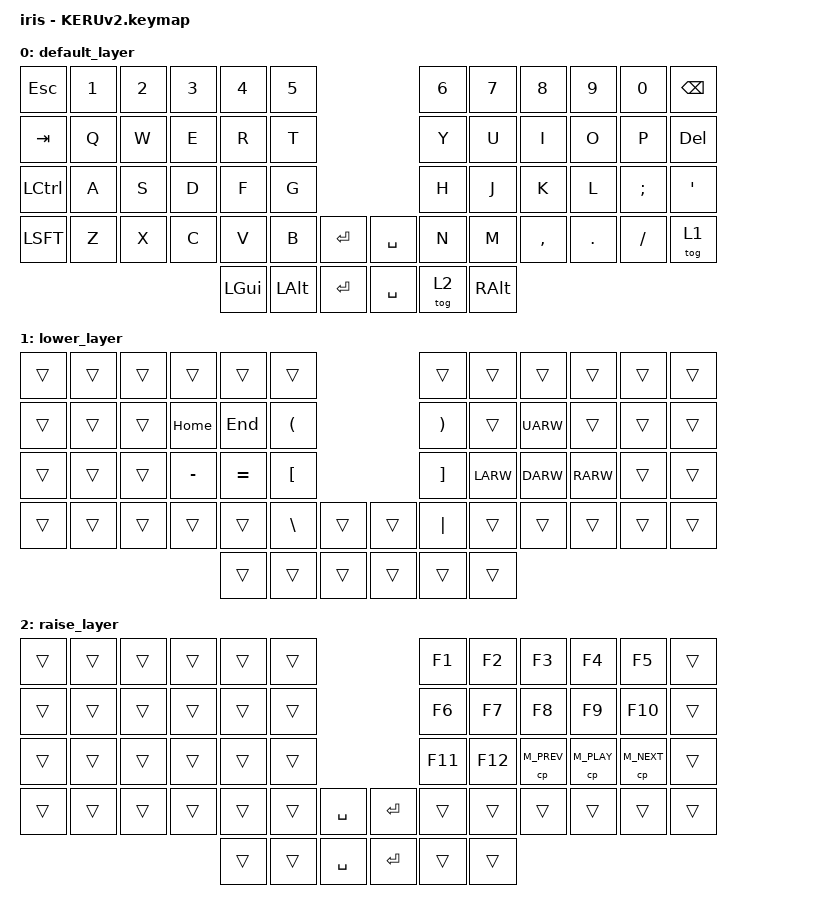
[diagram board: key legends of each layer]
#include <behaviors.dtsi>
#include <dt-bindings/zmk/keys.h>


/ {
	keymap {
		compatible = "zmk,keymap";

		default_layer {
// ------------------------------------------------------------------------------------------------------------
// |  ESC  |  1  |  2  |  3   |  4   |  5   |                   |  6   |  7    |  8    |  9   |   0   |  BKSP |
// |  TAB  |  Q  |  W  |  E   |  R   |  T   |                   |  Y   |  U    |  I    |  O   |   P   |   `   |
// |  CTRL |  A  |  S  |  D   |  F   |  G   |                   |  H   |  J    |  K    |  L   |   ;   |   '   |
// | SHIFT |  Z  |  X  |  C   |  V   |  B   |  ENTER |  | SPACE |  N   |  M    |  ,    |  .   |   /   |  DEL  |
//                     		  | GUI  | TOG1 |  ENTER |  | SPACE | TOG2 |  ALT  |
			bindings = <
&kp ESC  &kp NUM_1 &kp NUM_2 &kp NUM_3 &kp NUM_4 &kp NUM_5                  &kp NUM_6 &kp NUM_7 &kp NUM_8 &kp NUM_9 &kp NUM_0 &kp BKSP
&kp TAB  &kp Q     &kp W     &kp E     &kp R     &kp T                      &kp Y     &kp U     &kp I     &kp O     &kp P     &kp DEL
&kp LCTL &kp A     &kp S     &kp D     &kp F     &kp G                      &kp H     &kp J     &kp K     &kp L     &kp SCLN  &kp QUOT
&kp LSFT &kp Z     &kp X     &kp C     &kp V     &kp B   &kp RET   &kp SPC  &kp N     &kp M     &kp CMMA  &kp DOT   &kp FSLH  &tog 1
                   			 		   &kp LGUI  &kp LALT &kp RET   &kp SPC  &tog 2    &kp RALT
			>;
		};

		lower_layer {
// ------------------------------------------------------------------------------------------------------------
// |       |     |     |      |      |      |                   |      |   ^   |   *   |  (   |   )   |       |
// |       |     | UP  | HOME | END  |  (   |                   |  )   |   7   |   8   |  9   |   0   |       |
// |       | LEFT| DOWN| RIGHT| PGUP |  [   |                   |  ]   |   4   |   5   |  6   |   +   |       |
// |       |     |     |      | PGDN |  \   |       |   |       |  "|" |   1   |   2   |  3   |   -   |       |
//                            |      |      |       |   |       |  .   |   0   |
			bindings = <
&trans   &trans    &trans    &trans    &trans     &trans                      &trans    &trans   &trans   &trans    &trans  &trans
&trans   &trans    &trans    &kp HOME  &kp END    &kp LPRN                    &kp RPRN  &trans   &kp UARW &trans    &trans  &trans
&trans   &trans    &trans    &kp MINUS &kp EQL 	  &kp LBKT                    &kp RBKT  &kp LARW &kp DARW &kp RARW  &trans  &trans
&trans   &trans    &trans    &trans    &trans     &kp BSLH  &trans   &trans   &kp PIPE  &trans   &trans   &trans    &trans  &trans
                   		     		   &trans     &trans    &trans   &trans   &trans   &trans
			>;
		};

		raise_layer {
// ------------------------------------------------------------------------------------------------------------
// |       |     |     |      |      |      |                   |  F1  |  F2   |  F3   |  F4  |  F5   |       |
// |       |     |     |      |      |      |                   |  F6  |  F7   |  F8   |  F9  |  F10  |       |
// |       |     |     |      |      |      |                   |  F11 |  F12  |  MPRV | MPLY |  MNXT |       |
// |       |     |     |      |      |      | SPACE |   | ENTER |      |       |       |      |       |       |
//                            |      |      | SPACE |   | ENTER |      |       |
			bindings = <
&trans     &trans     &trans     &trans     &trans    &trans                     &kp F1    &kp F2     &kp F3     &kp F4     &kp F5     &trans
&trans     &trans     &trans     &trans     &trans    &trans                     &kp F6    &kp F7     &kp F8     &kp F9     &kp F10    &trans
&trans     &trans     &trans     &trans     &trans    &trans                     &kp F11   &kp F12    &cp M_PREV &cp M_PLAY &cp M_NEXT &trans
&trans     &trans     &trans     &trans     &trans    &trans  &kp SPC  &kp RET   &trans    &trans     &trans     &trans     &trans     &trans
                   		     		        &trans    &trans  &kp SPC  &kp RET   &trans    &trans
			>;
		};
	};
};
